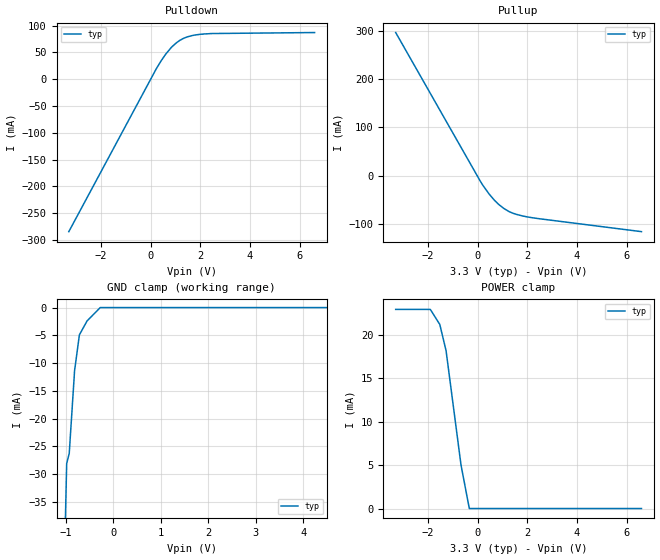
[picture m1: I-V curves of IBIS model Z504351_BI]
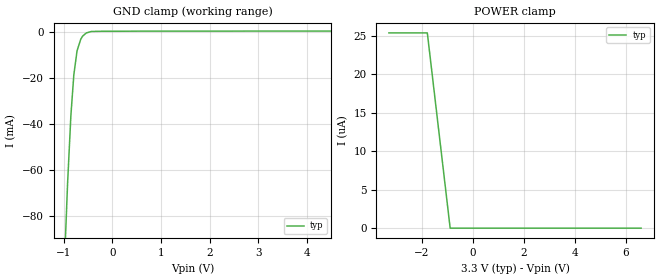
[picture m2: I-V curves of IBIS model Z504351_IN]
| YOU ARE ONLY AUTHORIZED TO USE THIS SOFTWARE
| ACCORDING TO LICENSOR'S LICENSE RESTRICTIONS.
[IBIS Ver] 3.1
[File Name] mc74lcx646dw.ibs
[File Rev] 2.0
[Source] Measured and created by ICX Technology
[Date] Friday 7/14/00 9:08:12 AM
[Copyright]
| (C) COPYRIGHT 1993-2000
| MENTOR GRAPHICS CORPORATION
| ICX STANDARD LIBRARY, ICX PROJECT MODELING,
| ICX CUSTOM MODELING, ICX VENDOR MODEL
| ALL RIGHTS RESERVED.
| THE FOLLOWING ARE TRADEMARKS OR SERVICE MARKS OF
| MENTOR GRAPHICS CORPORATION:ICX (R), ICX STANDARD
| LIBRARY(R), ICX PROJECT MODELING(R), ICX CUSTOM
| MODELING(R), qualityIBIS(TM), MODELVIEWER(TM),
| AND MODELEDITOR(TM)
| ALL COPIES OF SOFTWARE, INCLUDING BUT NOT LIMITED TO
| ANY MODIFICATIONS, ENHANCEMENTS OR DERIVATIVE WORKS,
| MUST CONTAIN ALL MENTOR GRAPHICS CORPORATION'S
| NOTICES AND LEGENDS, INCLUDING THOSE EMBEDDED IN
| SOFTWARE AND THOSE AFFIXED TO SOFTWARE MEDIUM
| AND CONTAINER, AS RECEIVED FROM MENTOR GRAPHICS
| CORPORATION.
|  ZAP Model Builder 2.7
[Component] MC74LCX646DW
[Manufacturer] OnSemiconductor
[Package]
| variable   typ   min   max
R_pkg  .18ohms NA NA
L_pkg  4.67nH NA NA
C_pkg  .637pF NA NA
[Pin] signal_name  model_name  R_pin  L_pin C_pin
1 CAB Z504351_IN .19 5.862n .712p
2 SAB Z504351_IN .186 5.372n .682p
3 DIR Z504351_IN .182 4.892n .652p
4 A1 Z504351_BI .178 4.422n .622p
5 A2 Z504351_BI .174 3.962n .592p
6 A3 Z504351_BI .17 3.512n .562p
7 A4 Z504351_BI .17 3.512n .562p
8 A5 Z504351_BI .174 3.962n .592p
9 A6 Z504351_BI .178 4.422n .622p
10 A7 Z504351_BI .182 4.892n .652p
11 A8 Z504351_BI .186 5.372n .682p
12 GROUND GND .19 5.862n .712p
13 B8 Z504351_BI .19 5.862n .712p
14 B7 Z504351_BI .186 5.372n .682p
15 B6 Z504351_BI .182 4.892n .652p
16 B5 Z504351_BI .178 4.422n .622p
17 B4 Z504351_BI .174 3.962n .592p
18 B3 Z504351_BI .17 3.512n .562p
19 B2 Z504351_BI .17 3.512n .562p
20 B1 Z504351_BI .174 3.962n .592p
21 EN_GRA Z504351_IN .178 4.422n .622p
22 SBA Z504351_IN .182 4.892n .652p
23 CBA Z504351_IN .186 5.372n .682p
24 VCC POWER .19 5.862n .712p
| Models and submodels in the file (2): Z504351_BI (I/O), Z504351_IN (Input)
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| (C) COPYRIGHT 1993-2000
| MENTOR GRAPHICS CORPORATION
| ICX STANDARD LIBRARY, ICX PROJECT MODELING,
| ICX CUSTOM MODELING, ICX VENDOR MODEL
| ALL RIGHTS RESERVED.
| THE FOLLOWING ARE TRADEMARKS OR SERVICE MARKS OF
| MENTOR GRAPHICS CORPORATION:ICX (R), ICX STANDARD
| LIBRARY(R), ICX PROJECT MODELING(R), ICX CUSTOM
| MODELING(R), qualityIBIS(TM), MODELVIEWER(TM),
| AND MODELEDITOR(TM)
| ALL COPIES OF SOFTWARE, INCLUDING BUT NOT LIMITED TO
| ANY MODIFICATIONS, ENHANCEMENTS OR DERIVATIVE WORKS,
| MUST CONTAIN ALL MENTOR GRAPHICS CORPORATION'S
| NOTICES AND LEGENDS, INCLUDING THOSE EMBEDDED IN
| SOFTWARE AND THOSE AFFIXED TO SOFTWARE MEDIUM
| AND CONTAINER, AS RECEIVED FROM MENTOR GRAPHICS
| CORPORATION.
| Model Application Version 1.89 2/18/99.
[Model] Z504351_BI
Model_type I/O
Vinl=800.0mV
Vinh=2.000V
Vref=0.000V
Rref=500.0ohms
Cref=50.00pF
Vmeas=1.500V
C_comp 8.000pF NA NA
| variable typ   min   max
[Voltage Range] 3.300V NA NA
[POWER Clamp Reference] 3.300V NA NA
[Pullup Reference] 3.300V NA NA
[Pulldown Reference] 0.000V NA NA
[GND Clamp Reference] 0.000V NA NA
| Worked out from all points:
|   slope of the pulldown table from 0 to 0.495 V, typ, clamps not added: 12.6 ohm
|   slope of the pullup table from 0 to 0.495 V, typ, clamps not added: 12.9 ohm
[GND Clamp]
-3.3V     -1.359A    NA         NA
-1.054V   -53.54mA   NA         NA
-986.1mV  -28.1mA    NA         NA
-932mV    -26.26mA   NA         NA
-819.2mV  -11.35mA   NA         NA
-717.7mV  -4.91mA    NA         NA
-556.3mV  -2.408mA   NA         NA
-278.1mV  0A         NA         NA
6.6V      0A         NA         NA
[Pulldown]
-3.3V     -284.5mA   NA         NA
225.9mV   19.51mA    NA         NA
595.9mV   46.13mA    NA         NA
839.8mV   59.71mA    NA         NA
1.031V    67.65mA    NA         NA
1.324V    76.14mA    NA         NA
1.477V    78.87mA    NA         NA
2.173V    84.36mA    NA         NA
6.6V      86.91mA    NA         NA
[Pullup]
-3.3V     296.7mA    NA         NA
107mV     -11.44mA   NA         NA
458mV     -37.8mA    NA         NA
854mV     -59.98mA   NA         NA
1.064V    -68.41mA   NA         NA
1.41V     -77.84mA   NA         NA
2.04V     -86.01mA   NA         NA
6.6V      -116.2mA   NA         NA
[POWER Clamp]
-3.3V     22.95mA    NA         NA
-1.905V   22.95mA    NA         NA
-1.524V   21.22mA    NA         NA
-1.271V   18.2mA     NA         NA
-669mV    5.021mA    NA         NA
-334.5mV  0A         NA         NA
6.6V      0A         NA         NA
[Ramp]
| variable typ min max
dV/dt_r 1.949/343.6p NA NA
dV/dt_f 1.949/1.379n NA NA
R_load = 500.0Ohms
| (C) COPYRIGHT 1993-2000
| MENTOR GRAPHICS CORPORATION
| ICX STANDARD LIBRARY, ICX PROJECT MODELING,
| ICX CUSTOM MODELING, ICX VENDOR MODEL
| ALL RIGHTS RESERVED.
| THE FOLLOWING ARE TRADEMARKS OR SERVICE MARKS OF
| MENTOR GRAPHICS CORPORATION:ICX (R), ICX STANDARD
| LIBRARY(R), ICX PROJECT MODELING(R), ICX CUSTOM
| MODELING(R), qualityIBIS(TM), MODELVIEWER(TM),
| AND MODELEDITOR(TM)
| ALL COPIES OF SOFTWARE, INCLUDING BUT NOT LIMITED TO
| ANY MODIFICATIONS, ENHANCEMENTS OR DERIVATIVE WORKS,
| MUST CONTAIN ALL MENTOR GRAPHICS CORPORATION'S
| NOTICES AND LEGENDS, INCLUDING THOSE EMBEDDED IN
| SOFTWARE AND THOSE AFFIXED TO SOFTWARE MEDIUM
| AND CONTAINER, AS RECEIVED FROM MENTOR GRAPHICS
| CORPORATION.
| Model Application Version 1.89 2/18/99.
[Model] Z504351_IN
Model_type Input
Vinl = 800.0mV
Vinh = 2.000V
C_comp 4.000pF NA NA
| variable typ   min   max
[Voltage Range] 3.300V NA NA
[GND Clamp Reference] 0.000V NA NA
[POWER Clamp Reference] 3.300V NA NA
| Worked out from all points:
|   GND clamp passes 1 mA (typ) near -0.55 V on its own axis
[GND Clamp]
-3.3V     -1.625A    NA         NA
-1.069V   -148.6mA   NA         NA
-918mV    -66.21mA   NA         NA
-849.4mV  -36.4mA    NA         NA
-789.2mV  -18.8mA    NA         NA
-722.7mV  -8.335mA   NA         NA
-644.5mV  -3.211mA   NA         NA
-606.9mV  -1.957mA   NA         NA
-531.9mV  -599.2uA   NA         NA
-429.7mV  32.5uA     NA         NA
-214.8mV  124.4uA    NA         NA
6.6V      205uA      NA         NA
[POWER Clamp]
-3.3V     25.4uA     NA         NA
-1.793V   25.4uA     NA         NA
-896.5mV  0A         NA         NA
6.6V      0A         NA         NA
